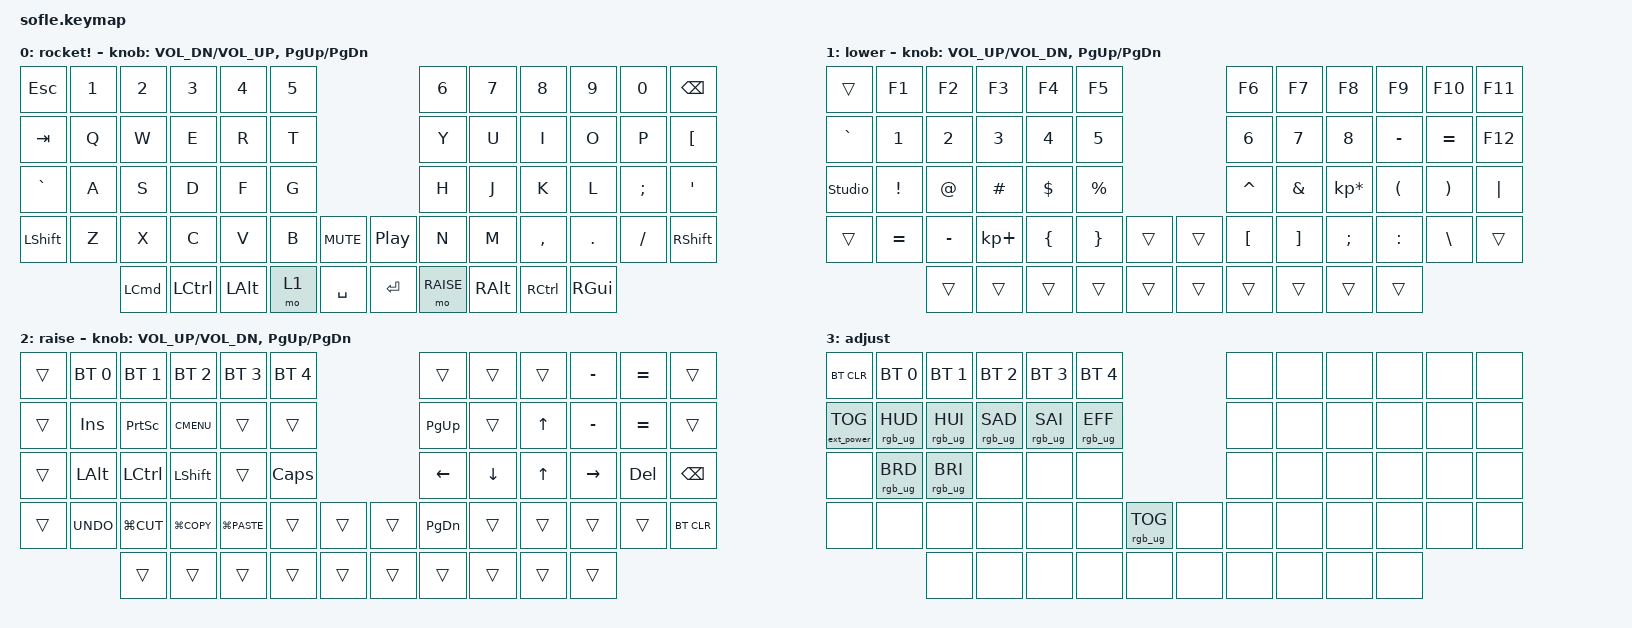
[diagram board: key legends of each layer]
/*
 * Copyright (c) 2020 The ZMK Contributors
 *
 * SPDX-License-Identifier: MIT
 */

#include <behaviors.dtsi>
#include <dt-bindings/zmk/bt.h>
#include <dt-bindings/zmk/ext_power.h>
#include <dt-bindings/zmk/keys.h>
#include <dt-bindings/zmk/rgb.h>

#define BASE 0
#define LOWER 1
#define RAISE 2
#define ADJUST 3

/ {
    // Activate ADJUST layer by pressing raise and lower

    conditional_layers {
        compatible = "zmk,conditional-layers";

        adjust_layer {
            if-layers = <LOWER RAISE>;
            then-layer = <ADJUST>;
        };
    };

    keymap {
        compatible = "zmk,keymap";

        default_layer {
            display-name = "rocket!";

            // ------------------------------------------------------------------------------------------------------------
            // |   `   |  1  |  2  |  3   |  4   |  5   |                   |  6   |  7    |  8    |  9   |   0   |       |
            // |  ESC  |  Q  |  W  |  E   |  R   |  T   |                   |  Y   |  U    |  I    |  O   |   P   | BKSPC |
            // |  TAB  |  A  |  S  |  D   |  F   |  G   |                   |  H   |  J    |  K    |  L   |   ;   |   '   |
            // | SHIFT |  Z  |  X  |  C   |  V   |  B   |  MUTE  |  |       |  N   |  M    |  ,    |  .   |   /   | SHIFT |
            //               | GUI | ALT  | CTRL | LOWER|  ENTER |  | SPACE | RAISE| CTRL  | ALT   | GUI  |

            bindings = <
&kp ESC    &kp N1  &kp N2            &kp N3            &kp N4        &kp N5                                  &kp N6     &kp N7         &kp N8             &kp N9    &kp N0    &kp BACKSPACE
&kp TAB    &kp Q   &kp W             &kp E             &kp R         &kp T                                   &kp Y      &kp U          &kp I              &kp O     &kp P     &kp LEFT_BRACKET
&kp GRAVE  &kp A   &kp S             &kp D             &kp F         &kp G                                   &kp H      &kp J          &kp K              &kp L     &kp SEMI  &kp SQT
&kp LSHFT  &kp Z   &kp X             &kp C             &kp V         &kp B   &kp C_MUTE    &kp C_PLAY_PAUSE  &kp N      &kp M          &kp COMMA          &kp DOT   &kp FSLH  &kp RIGHT_SHIFT
                   &kp LEFT_COMMAND  &kp LEFT_CONTROL  &kp LEFT_ALT  &mo 1   &kp SPACE     &kp ENTER         &mo RAISE  &kp RIGHT_ALT  &kp RIGHT_CONTROL  &kp RGUI
            >;

            sensor-bindings =
                <&inc_dec_kp C_VOL_DN C_VOL_UP>,
                <&inc_dec_kp PG_UP PG_DN>;
        };

        lower_layer {
            display-name = "lower";

            // TODO: Some binds are waiting for shifted keycode support.
            // ------------------------------------------------------------------------------------------------------------
            // |       |  F1 |  F2 |  F3  |  F4  |  F5  |                   |  F6  |  F7   |  F8   |  F9  |  F10  |  F11  |
            // |   `   |  1  |  2  |  3   |  4   |  5   |                   |  6   |  7    |  8    |  9   |   0   |  F12  |
            // |       |  !  |  @  |  #   |  $   |  %   |                   |  ^   |  &    |  *    |  (   |   )   |   |   |
            // |       |  =  |  -  |  +   |  {   |  }   |        |  |       |  [   |  ]    |  ;    |  :   |   \   |       |
            //               |     |      |      |      |        |  |       |      |       |       |      |

            bindings = <
&trans          &kp F1     &kp F2     &kp F3       &kp F4    &kp F5                       &kp F6     &kp F7    &kp F8           &kp F9     &kp F10    &kp F11
&kp GRAVE       &kp N1     &kp N2     &kp N3       &kp N4    &kp N5                       &kp N6     &kp N7    &kp N8           &kp MINUS  &kp EQUAL  &kp F12
&studio_unlock  &kp EXCL   &kp AT     &kp HASH     &kp DLLR  &kp PRCNT                    &kp CARET  &kp AMPS  &kp KP_MULTIPLY  &kp LPAR   &kp RPAR   &kp PIPE
&trans          &kp EQUAL  &kp MINUS  &kp KP_PLUS  &kp LBRC  &kp RBRC   &trans    &trans  &kp LBKT   &kp RBKT  &kp SEMI         &kp COLON  &kp BSLH   &trans
                           &trans     &trans       &trans    &trans     &trans    &trans  &trans     &trans    &trans           &trans
            >;

            sensor-bindings = <&inc_dec_kp C_VOL_UP C_VOL_DN &inc_dec_kp PG_UP PG_DN>;
        };

        raise_layer {
            display-name = "raise";

            // ------------------------------------------------------------------------------------------------------------
            // | BTCLR | BT1  | BT2  |  BT3  |  BT4  |  BT5 |                |      |      |       |      |       |       |
            // |       | INS  | PSCR | GUI   |       |      |                | PGUP |      |   ^   |      |       |       |
            // |       | ALT  | CTRL | SHIFT |       | CAPS |                | PGDN |   <- |   v   |  ->  |  DEL  | BKSPC |
            // |       | UNDO | CUT  | COPY  | PASTE |      |      |  |      |      |      |       |      |       |       |
            //                |      |       |       |      |      |  |      |      |      |       |      |

            bindings = <
&trans  &bt BT_SEL 0  &bt BT_SEL 1   &bt BT_SEL 2    &bt BT_SEL 3     &bt BT_SEL 4                    &trans          &trans          &trans        &kp MINUS  &kp EQUAL  &trans
&trans  &kp INS       &kp PSCRN      &kp K_CMENU     &trans           &trans                          &kp PG_UP       &trans          &kp UP        &kp MINUS  &kp EQUAL  &trans
&trans  &kp LALT      &kp LCTRL      &kp LSHFT       &trans           &kp CLCK                        &kp LEFT_ARROW  &kp DOWN_ARROW  &kp UP_ARROW  &kp RIGHT  &kp DEL    &kp BSPC
&trans  &kp K_UNDO    &kp LG(K_CUT)  &kp LG(K_COPY)  &kp LG(K_PASTE)  &trans        &trans    &trans  &kp PAGE_DOWN   &trans          &trans        &trans     &trans     &bt BT_CLR
                      &trans         &trans          &trans           &trans        &trans    &trans  &trans          &trans          &trans        &trans
            >;

            sensor-bindings = <&inc_dec_kp C_VOL_UP C_VOL_DN &inc_dec_kp PG_UP PG_DN>;
        };

        adjust_layer {
            // ----------------------------------------------------------------------------------------------------------------------------
            // | BTCLR  |  BT1    |  BT2    |   BT3   |   BT4   |   BT5   |                  |      |      |       |      |       |       |
            // | EXTPWR | RGB_HUD | RGB_HUI | RGB_SAD | RGB_SAI | RGB_EFF |                  |      |      |       |      |       |       |
            // |        | RGB_BRD | RGB_BRI |         |         |         |                  |      |      |       |      |       |       |
            // |        |         |         |         |         |         | RGB_TOG | |      |      |      |       |      |       |       |
            //                    |         |         |         |         |         | |      |      |      |       |      |

            display-name = "adjust";
            bindings = <
&bt BT_CLR         &bt BT_SEL 0     &bt BT_SEL 1     &bt BT_SEL 2     &bt BT_SEL 3     &bt BT_SEL 4                               &none  &none  &none  &none  &none  &none
&ext_power EP_TOG  &rgb_ug RGB_HUD  &rgb_ug RGB_HUI  &rgb_ug RGB_SAD  &rgb_ug RGB_SAI  &rgb_ug RGB_EFF                            &none  &none  &none  &none  &none  &none
&none              &rgb_ug RGB_BRD  &rgb_ug RGB_BRI  &none            &none            &none                                      &none  &none  &none  &none  &none  &none
&none              &none            &none            &none            &none            &none            &rgb_ug RGB_TOG    &none  &none  &none  &none  &none  &none  &none
                                    &none            &none            &none            &none            &none              &none  &none  &none  &none  &none
            >;
        };
    };
};
